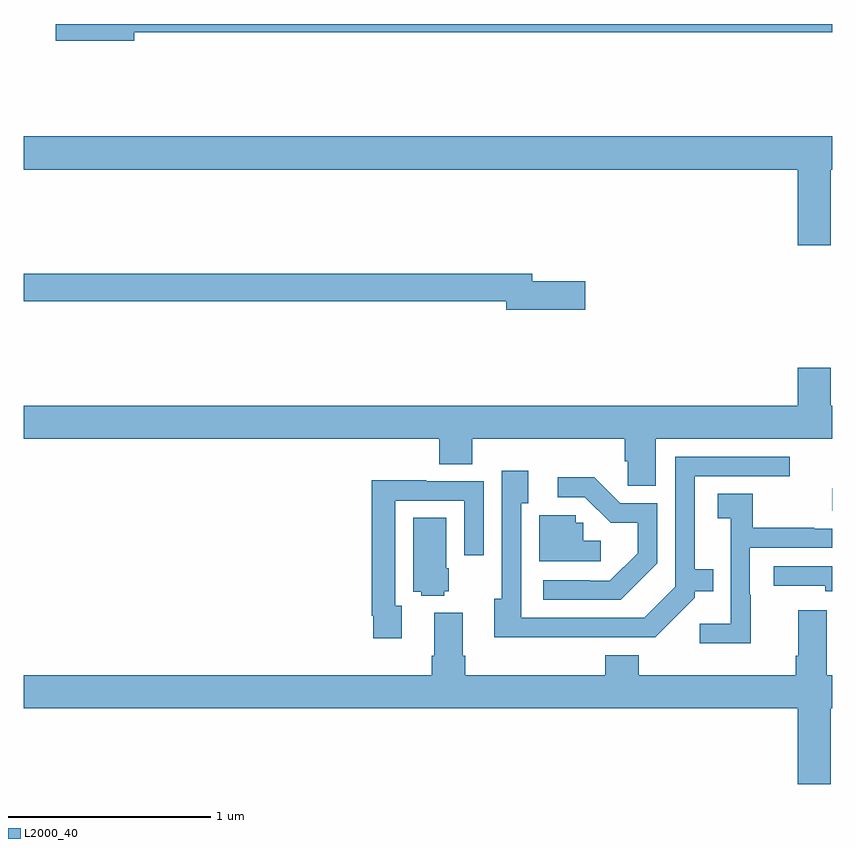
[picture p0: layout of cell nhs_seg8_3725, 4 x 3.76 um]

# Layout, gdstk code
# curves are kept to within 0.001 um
import gdstk
lib = gdstk.Library(unit=1e-6, precision=1e-09)
def R(c, l, rs):  # rectangles x0, y0, x1, y1
    for r in rs: c.add(gdstk.rectangle(r[:2], r[2:], *l))
def P(c, l, *ps):  # polygons
    for p in ps: c.add(gdstk.Polygon(p, *l))
L2000_40 = (2000, 40)

nhs_seg8_3725 = lib.new_cell('nhs_seg8_3725')
R(nhs_seg8_3725, L2000_40, [(344.998,1101.492,345,1101.604)])
P(nhs_seg8_3725, L2000_40, [(341.548,1103.86),(345,1103.86),(345,1103.9),(341.16,1103.9),(341.16,1103.818),(341.548,1103.818)],
  [(344.992,1103.18),(345,1103.18),(345,1103.344),(341,1103.344),(341,1103.18),(344.828,1103.18),(344.828,1102.806),(344.992,1102.806)],
  [(343.777,1102.628),(343.516,1102.628),(343.516,1102.664),(341,1102.664),(341,1102.528),(343.388,1102.528),(343.388,1102.486),(343.777,1102.486)],
  [(344.125,1101.848),(345,1101.848),(345,1102.012),(344.992,1102.012),(344.992,1102.201),(344.828,1102.201),(344.828,1102.012),(341,1102.012),(341,1101.848),(343.055,1101.848),(343.055,1101.724),(343.22,1101.724),(343.22,1101.848),(343.973,1101.848),(343.973,1101.738),(343.987,1101.738),(343.987,1101.616),(344.125,1101.616)],
  [(343.793,1100.868),(344.124,1100.868),(344.319,1101.063),(344.319,1101.095),(344.411,1101.095),(344.411,1101.205),(344.32,1101.205),(344.32,1101.663),(344.788,1101.663),(344.788,1101.759),(344.223,1101.759),(344.223,1101.117),(344.07,1100.964),(343.461,1100.964),(343.461,1101.53),(343.495,1101.53),(343.495,1101.691),(343.365,1101.691),(343.365,1101.058),(343.328,1101.058),(343.328,1100.867)],
  [(344.133,1101.233),(344.133,1101.531),(343.95,1101.531),(343.822,1101.659),(343.641,1101.659),(343.641,1101.561),(343.776,1101.561),(343.903,1101.434),(344.036,1101.434),(344.036,1101.284),(343.899,1101.147),(343.799,1101.147),(343.799,1101.15),(343.569,1101.15),(343.569,1101.054),(343.954,1101.054)],
  [(342.871,1101.023),(342.837,1101.023),(342.837,1101.543),(343.179,1101.543),(343.179,1101.273),(343.275,1101.273),(343.275,1101.639),(342.991,1101.639),(342.991,1101.643),(342.721,1101.643),(342.721,1100.974),(342.729,1100.974),(342.729,1100.862),(342.871,1100.862)],
  [(344.595,1101.077),(344.592,1101.077),(344.592,1101.309),(345,1101.309),(345,1101.405),(344.909,1101.405),(344.909,1101.408),(344.605,1101.408),(344.605,1101.578),(344.433,1101.578),(344.433,1101.457),(344.496,1101.457),(344.496,1100.935),(344.343,1100.935),(344.343,1100.837),(344.595,1100.837)],
  [(343.855,1101.346),(343.767,1101.346),(343.767,1101.435),(343.731,1101.435),(343.731,1101.471),(343.55,1101.471),(343.55,1101.243),(343.855,1101.243)],
  [(343.08,1101.096),(343.102,1101.096),(343.102,1101.21),(343.09,1101.21),(343.09,1101.458),(342.926,1101.458),(342.926,1101.092),(342.966,1101.092),(342.966,1101.074),(343.08,1101.074)],
  [(345,1101.219),(344.709,1101.219),(344.709,1101.123),(344.964,1101.123),(344.964,1101.096),(345,1101.096)],
  [(344.992,1100.516),(345,1100.516),(345,1100.68),(344.971,1100.68),(344.971,1101.001),(344.831,1101.001),(344.831,1100.776),(344.819,1100.776),(344.819,1100.68),(344.042,1100.68),(344.042,1100.779),(343.877,1100.779),(343.877,1100.68),(343.184,1100.68),(343.184,1100.776),(343.171,1100.776),(343.171,1100.989),(343.031,1100.989),(343.031,1100.776),(343.019,1100.776),(343.019,1100.68),(341,1100.68),(341,1100.516),(344.828,1100.516),(344.828,1100.142),(344.992,1100.142)])

lib.write_gds('nhs_seg8_3725.gds')
